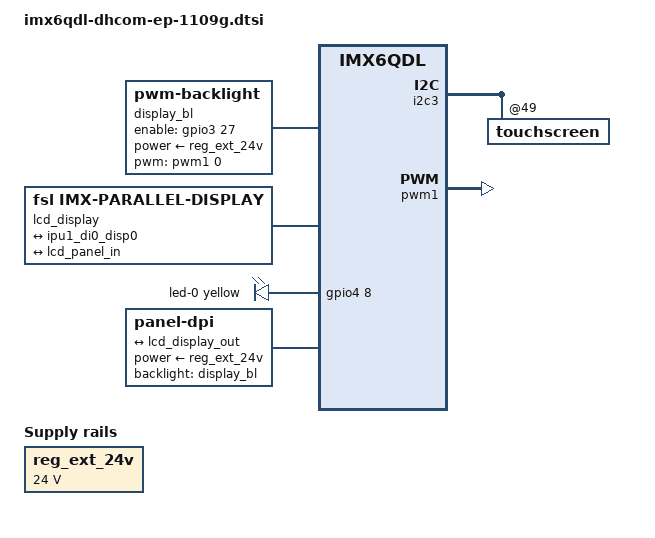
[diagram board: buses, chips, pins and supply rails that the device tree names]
// SPDX-License-Identifier: GPL-2.0+
/*
 * Copyright (C) 2021 DH electronics GmbH
 */

#include <dt-bindings/leds/common.h>

/ {
	chosen {
		stdout-path = "serial0:115200n8";
	};

	display_bl: display-bl {
		brightness-levels = <0 16 22 30 40 55 75 102 138 188 255>;
		compatible = "pwm-backlight";
		default-brightness-level = <8>;
		enable-gpios = <&gpio3 27 GPIO_ACTIVE_HIGH>; /* GPIO G */
		power-supply = <&reg_ext_24v>;
		pwms = <&pwm1 0 50000 PWM_POLARITY_INVERTED>;
		status = "okay";
	};

	lcd_display: disp0 {
		#address-cells = <1>;
		#size-cells = <0>;
		compatible = "fsl,imx-parallel-display";
		interface-pix-fmt = "rgb24";
		pinctrl-0 = <&pinctrl_ipu1_lcdif &pinctrl_dhcom_g>;
		pinctrl-names = "default";
		status = "okay";

		port@0 {
			reg = <0>;

			lcd_display_in: endpoint {
				remote-endpoint = <&ipu1_di0_disp0>;
			};
		};

		port@1 {
			reg = <1>;

			lcd_display_out: endpoint {
				remote-endpoint = <&lcd_panel_in>;
			};
		};
	};

	led {
		compatible = "gpio-leds";

		led-0 {
			color = <LED_COLOR_ID_YELLOW>;
			default-state = "off";
			function = LED_FUNCTION_INDICATOR;
			gpios = <&gpio4 8 GPIO_ACTIVE_HIGH>; /* GPIO I */
			pinctrl-0 = <&pinctrl_dhcom_i>;
			pinctrl-names = "default";
		};
	};

	panel {
		backlight = <&display_bl>;
		compatible = "panel-dpi";
		data-mapping = "bgr666";
		height-mm = <91>;
		width-mm = <152>;
		power-supply = <&reg_ext_24v>;

		port {
			lcd_panel_in: endpoint {
				remote-endpoint = <&lcd_display_out>;
			};
		};

		panel-timing {
			clock-frequency = <33260000>;
			hactive = <800>;
			vactive = <480>;
			hfront-porch = <42>;
			hback-porch = <86>;
			hsync-len = <128>;
			vfront-porch = <10>;
			vback-porch = <33>;
			vsync-len = <2>;
			hsync-active = <0>;
			vsync-active = <0>;
			de-active = <1>;
			pixelclk-active = <1>;
		};
	};

	reg_ext_24v: regulator-ext-24v {
		compatible = "regulator-fixed";
		regulator-name = "24V_EXT";
		regulator-min-microvolt = <24000000>;
		regulator-max-microvolt = <24000000>;
		regulator-always-on;
	};
};

&gpio1 {
	gpio-line-names =
		"", "", "DHCOM-A", "", "DHCOM-B", "PicoITX-In2", "", "",
		"", "", "", "", "", "", "", "",
		"DHCOM-R", "DHCOM-S", "DHCOM-Q", "DHCOM-T", "DHCOM-U", "", "", "",
		"", "", "", "", "", "", "", "";
};

&gpio4 {
	gpio-line-names =
		"", "", "", "", "", "PicoITX-In1", "DHCOM-INT", "DHCOM-H",
		"DHCOM-I", "PicoITX-HW2", "", "", "", "", "", "",
		"", "", "", "", "PicoITX-Out1", "", "", "",
		"", "", "", "", "", "", "", "";
};

&gpio6 {
	gpio-line-names =
		"", "", "", "PicoITX-Out2", "", "", "SOM-HW1", "",
		"", "", "", "", "", "", "PicoITX-HW0", "PicoITX-HW1",
		"", "", "", "", "", "", "", "",
		"", "", "", "", "", "", "", "";
};

&i2c3 {
	touchscreen@49 { /* TSC2004 */
		status = "okay";
	};
};

&ipu1_di0_disp0 {
	remote-endpoint = <&lcd_display_in>;
};

&pwm1 {
	status = "okay";
};

&iomuxc {
	pinctrl-0 = <
			/*
			 * The following DHCOM GPIOs are used on this board.
			 * Therefore, they have been removed from the list below.
			 * I: yellow led
			 * G: backlight enable
			 */
			&pinctrl_hog_base
			&pinctrl_dhcom_a &pinctrl_dhcom_b &pinctrl_dhcom_c
			&pinctrl_dhcom_d &pinctrl_dhcom_e &pinctrl_dhcom_f
			&pinctrl_dhcom_h
			&pinctrl_dhcom_j &pinctrl_dhcom_k &pinctrl_dhcom_l
			&pinctrl_dhcom_m &pinctrl_dhcom_n &pinctrl_dhcom_o
			&pinctrl_dhcom_p &pinctrl_dhcom_q &pinctrl_dhcom_r
			&pinctrl_dhcom_s &pinctrl_dhcom_t &pinctrl_dhcom_u
			&pinctrl_dhcom_v &pinctrl_dhcom_w &pinctrl_dhcom_int
		>;
	pinctrl-names = "default";
};
